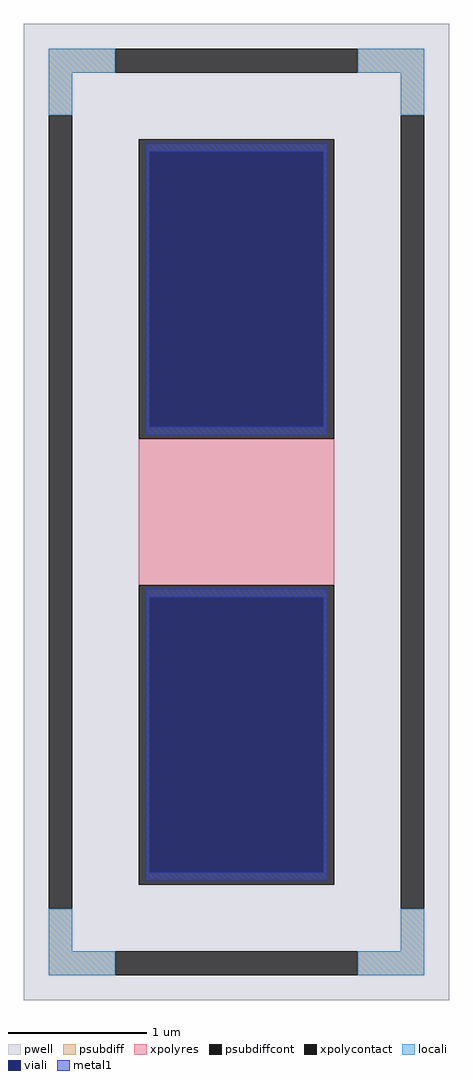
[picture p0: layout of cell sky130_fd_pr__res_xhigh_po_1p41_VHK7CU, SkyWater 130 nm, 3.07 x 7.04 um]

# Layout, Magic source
magic
tech sky130A
magscale 1 2
<< pwell >>
rect -307 -704 307 704
<< psubdiff >>
rect -271 634 -175 668
rect 175 634 271 668
rect -271 572 -237 634
rect 237 572 271 634
rect -271 -634 -237 -572
rect 237 -634 271 -572
rect -271 -668 -175 -634
rect 175 -668 271 -634
<< psubdiffcont >>
rect -175 634 175 668
rect -271 -572 -237 572
rect 237 -572 271 572
rect -175 -668 175 -634
<< xpolycontact >>
rect -141 106 141 538
rect -141 -538 141 -106
<< xpolyres >>
rect -141 -106 141 106
<< locali >>
rect -271 634 -175 668
rect 175 634 271 668
rect -271 572 -237 634
rect 237 572 271 634
rect -271 -634 -237 -572
rect 237 -634 271 -572
rect -271 -668 -175 -634
rect 175 -668 271 -634
<< viali >>
rect -125 123 125 520
rect -125 -520 125 -123
<< metal1 >>
rect -131 520 131 532
rect -131 123 -125 520
rect 125 123 131 520
rect -131 111 131 123
rect -131 -123 131 -111
rect -131 -520 -125 -123
rect 125 -520 131 -123
rect -131 -532 131 -520
<< properties >>
string FIXED_BBOX -254 -651 254 651
string gencell sky130_fd_pr__res_xhigh_po_1p41
string library sky130
string parameters w 1.410 l 1.222 m 1 nx 1 wmin 1.410 lmin 0.50 rho 2000 val 2.0k dummy 0 dw 0.0 term 188.2 sterm 0.0 caplen 0 wmax 1.410 guard 1 glc 1 grc 1 gtc 1 gbc 1 compatible {sky130_fd_pr__res_xhigh_po_0p35  sky130_fd_pr__res_xhigh_po_0p69 sky130_fd_pr__res_xhigh_po_1p41  sky130_fd_pr__res_xhigh_po_2p85 sky130_fd_pr__res_xhigh_po_5p73} snake 0 full_metal 1 n_guard 0 hv_guard 0 vias 1 viagb 0 viagt 0 viagl 0 viagr 0
<< end >>
